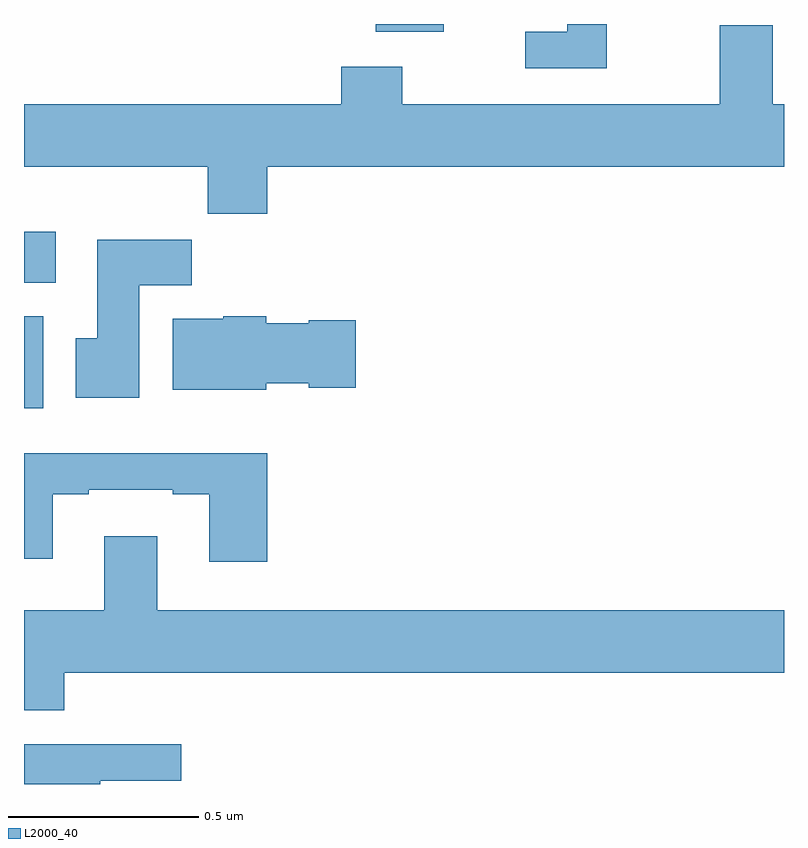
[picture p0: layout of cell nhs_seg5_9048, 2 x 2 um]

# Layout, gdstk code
import gdstk
lib = gdstk.Library(unit=1e-6, precision=1e-09)
def R(c, l, rs):  # rectangles x0, y0, x1, y1
    for r in rs: c.add(gdstk.rectangle(r[:2], r[2:], *l))
def P(c, l, *ps):  # polygons
    for p in ps: c.add(gdstk.Polygon(p, *l))
L2000_40 = (2000, 40)

nhs_seg5_9048 = lib.new_cell('nhs_seg5_9048')
R(nhs_seg5_9048, L2000_40, [(229,858.788,229.051,859.03), (229,859.118,229.084,859.252), (229.925,859.778,230.104,859.799)])
P(nhs_seg5_9048, L2000_40, [(230.533,859.799),(230.429,859.799),(230.429,859.779),(230.319,859.779),(230.319,859.683),(230.533,859.683)],
  [(229.64,859.424),(231,859.424),(231,859.588),(230.971,859.588),(230.971,859.796),(230.831,859.796),(230.831,859.588),(229.995,859.588),(229.995,859.687),(229.835,859.687),(229.835,859.588),(229,859.588),(229,859.424),(229.483,859.424),(229.483,859.3),(229.64,859.3)],
  [(229.303,859.112),(229.442,859.112),(229.442,859.231),(229.193,859.231),(229.193,858.972),(229.136,858.972),(229.136,858.816),(229.303,858.816)],
  [(229.638,858.854),(229.749,858.854),(229.749,858.842),(229.873,858.842),(229.873,859.02),(229.749,859.02),(229.749,859.012),(229.638,859.012),(229.638,859.03),(229.524,859.03),(229.524,859.024),(229.391,859.024),(229.391,858.836),(229.638,858.836)],
  [(229.64,858.67),(229,858.67),(229,858.392),(229.075,858.392),(229.075,858.561),(229.171,858.561),(229.171,858.573),(229.391,858.573),(229.391,858.561),(229.487,858.561),(229.487,858.384),(229.64,858.384)],
  [(229.106,858.092),(231,858.092),(231,858.256),(229.351,858.256),(229.351,858.451),(229.211,858.451),(229.211,858.256),(229,858.256),(229,857.993),(229.106,857.993)],
  [(229.2,857.808),(229.414,857.808),(229.414,857.904),(229,857.904),(229,857.799),(229.2,857.799)])

lib.write_gds('nhs_seg5_9048.gds')
